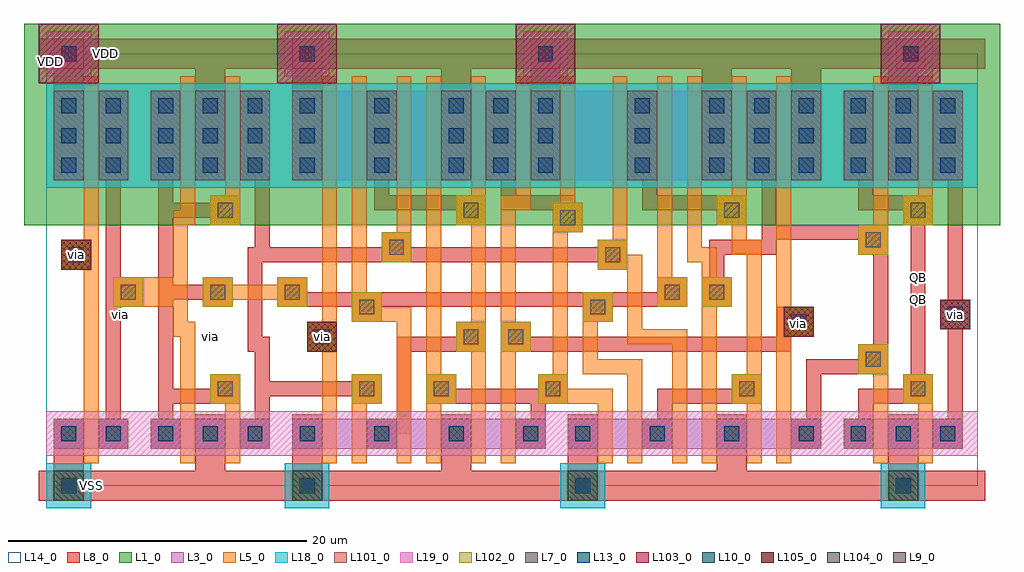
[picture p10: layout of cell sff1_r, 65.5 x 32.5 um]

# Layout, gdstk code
import gdstk
lib = gdstk.Library(unit=1e-6, precision=1e-09)
def R(c, l, rs):  # rectangles x0, y0, x1, y1
    for r in rs: c.add(gdstk.rectangle(r[:2], r[2:], *l))
L1_0 = (1, 0)
L3_0 = (3, 0)
L5_0 = (5, 0)
L7_0 = (7, 0)
L8_0 = (8, 0)
L9_0 = (9, 0)
L10_0 = (10, 0)
L13_0 = (13, 0)
L14_0 = (14, 0)
L18_0 = (18, 0)
L19_0 = (19, 0)
L101_0 = (101, 0)
L102_0 = (102, 0)
L103_0 = (103, 0)
L104_0 = (104, 0)
L105_0 = (105, 0)

dcont = lib.new_cell('dcont')
R(dcont, L3_0, [(-1,-1,1,1)])
R(dcont, L7_0, [(-0.5,-0.5,0.5,0.5)])
R(dcont, L8_0, [(-1,-1,1,1)])
R(dcont, L13_0, [(-0.5,-0.5,0.5,0.5)])
R(dcont, L101_0, [(-1,-1,1,1)])
dcont.add(gdstk.Label('dcont', (0,0), layer=13, texttype=0))

pcont = lib.new_cell('pcont')
R(pcont, L5_0, [(-1,-1,1,1)])
R(pcont, L7_0, [(-0.5,-0.5,0.5,0.5)])
R(pcont, L8_0, [(-1,-1,1,1)])
R(pcont, L102_0, [(-1,-1,1,1)])
pcont.add(gdstk.Label('pcont', (0,0), layer=13, texttype=0))

via = lib.new_cell('Via')
R(via, L8_0, [(-1,-1,1,1)])
R(via, L9_0, [(-0.5,-0.5,0.5,0.5)])
R(via, L10_0, [(-1,-1,1,1)])
R(via, L13_0, [(-0.5,-0.5,0.5,0.5)])
R(via, L105_0, [(-1,-1,1,1)])
via.add(gdstk.Label('via', (0,0), layer=13, texttype=0))

nsubcont = lib.new_cell('nsubcont')
R(nsubcont, L1_0, [(-2,-2,2,2)])
R(nsubcont, L19_0, [(-1.5,-1.5,1.5,1.5)])
R(nsubcont, L103_0, [(-2,-2,2,2)])
nsubcont.add(gdstk.Reference(dcont, (0,0)))
nsubcont.add(gdstk.Label('NScont', (0,0), layer=13, texttype=0))

psubcont = lib.new_cell('psubcont')
R(psubcont, L18_0, [(-1.5,-1.5,1.5,1.5)])
R(psubcont, L104_0, [(-1,-1,1,1)])
psubcont.add(gdstk.Reference(dcont, (0,0)))
psubcont.add(gdstk.Label('PScon', (0,0), layer=13, texttype=0))

sff1_r = lib.new_cell('sff1_r')
R(sff1_r, L1_0, [(-1.5,17.5,8,31), (5,17.5,64,31)])
R(sff1_r, L3_0, [(0.5,2.5,5.5,4.5), (7,2.5,15,4.5), (16.5,2.5,33.5,4.5), (35,2.5,52,4.5), (53.5,2.5,61.5,4.5), (0.5,20.5,5.5,26.5), (7,20.5,15,26.5), (16.5,20.5,52,26.5), (53.5,20.5,61.5,26.5)])
R(sff1_r, L5_0, [(6.5,12,8.5,14)])
R(sff1_r, L8_0, [(-0.5,-1,7,1), (6,-1,63,1), (17.5,9,19.5,11), (49.5,10,51.5,12), (60,10.5,62,12.5), (1,14.5,3,16.5), (13.4,20.9,14.6,26.1), (-0.5,28,7,30), (6,28,63,30)])
R(sff1_r, L10_0, [(17.5,9,19.5,11), (49.5,10,51.5,12), (60,10.5,62,12.5), (1,14.5,3,16.5)])
R(sff1_r, L14_0, [(0,0,62.5,29)])
R(sff1_r, L18_0, [(0,20,6.5,27), (6.5,20,62.5,27)])
R(sff1_r, L19_0, [(0,2,6.5,5), (6.5,2,62.5,5)])
R(sff1_r, L105_0, [(17.5,9,19.5,11), (49.5,10,51.5,12), (60,10.5,62,12.5), (1,14.5,3,16.5)])
sff1_r.add(gdstk.FlexPath([(31,19),(31,21.5)], 1, ends="extended", simple_path=True, layer=8, datatype=0))  # L8_0
sff1_r.add(gdstk.FlexPath([(38.3,15.5),(14.3,15.5)], 1, ends="extended", simple_path=True, layer=8, datatype=0))  # L8_0
sff1_r.add(gdstk.FlexPath([(50.5,10.8),(50.5,9.3),(31.8,9.3)], 0, ends="flush", simple_path=True, layer=8, datatype=0))  # L8_0
sff1_r.add(gdstk.FlexPath([(50.5,10.8),(50.5,9.3),(31.8,9.3)], 0, ends="flush", simple_path=True, layer=8, datatype=0))  # L8_0
sff1_r.add(gdstk.FlexPath([(8,26),(8,3.6)], 1, ends="extended", simple_path=True, layer=8, datatype=0))  # L8_0
sff1_r.add(gdstk.FlexPath([(8,22.3),(8,25.5)], 1.4, ends="extended", simple_path=True, layer=8, datatype=0))  # L8_0
sff1_r.add(gdstk.FlexPath([(11.9,13),(8,13)], 1, ends="extended", simple_path=True, layer=8, datatype=0))  # L8_0
sff1_r.add(gdstk.FlexPath([(12.3,6),(8,6)], 1, ends="extended", simple_path=True, layer=8, datatype=0))  # L8_0
sff1_r.add(gdstk.FlexPath([(12.1,18.5),(8,18.5)], 1, ends="extended", simple_path=True, layer=8, datatype=0))  # L8_0
sff1_r.add(gdstk.FlexPath([(11,22.6),(11,28.5)], 2, ends="extended", simple_path=True, layer=8, datatype=0))  # L8_0
sff1_r.add(gdstk.FlexPath([(11,1),(11,3.8)], 2, ends="extended", simple_path=True, layer=8, datatype=0))  # L8_0
sff1_r.add(gdstk.FlexPath([(14.5,3.6),(14.5,9.5),(14,9.5),(14,15.5),(14.5,15.5),(14.5,26)], 1, ends="extended", simple_path=True, layer=8, datatype=0))  # L8_0
sff1_r.add(gdstk.FlexPath([(17.5,1),(17.5,3.8)], 2, ends="extended", simple_path=True, layer=8, datatype=0))  # L8_0
sff1_r.add(gdstk.FlexPath([(17.5,22.6),(17.5,28.5)], 2, ends="extended", simple_path=True, layer=8, datatype=0))  # L8_0
sff1_r.add(gdstk.FlexPath([(21.3,6.5),(14.8,6.5)], 1, ends="extended", simple_path=True, layer=8, datatype=0))  # L8_0
sff1_r.add(gdstk.FlexPath([(22.5,22.3),(22.5,25.5)], 1.4, ends="extended", simple_path=True, layer=8, datatype=0))  # L8_0
sff1_r.add(gdstk.FlexPath([(22.5,22.3),(22.5,19),(28.5,19)], 1, ends="extended", simple_path=True, layer=8, datatype=0))  # L8_0
sff1_r.add(gdstk.FlexPath([(22.5,3.8),(22.5,4),(24,4),(24,9.5),(28.6,9.5)], 1, ends="extended", simple_path=True, layer=8, datatype=0))  # L8_0
sff1_r.add(gdstk.FlexPath([(27.5,22.6),(27.5,28.5)], 2, ends="extended", simple_path=True, layer=8, datatype=0))  # L8_0
sff1_r.add(gdstk.FlexPath([(27.5,1),(27.5,3.8)], 2, ends="extended", simple_path=True, layer=8, datatype=0))  # L8_0
sff1_r.add(gdstk.FlexPath([(41.9,12.5),(16.8,12.5)], 1, ends="extended", simple_path=True, layer=8, datatype=0))  # L8_0
sff1_r.add(gdstk.FlexPath([(33.8,6),(26.8,6)], 1, ends="extended", simple_path=True, layer=8, datatype=0))  # L8_0
sff1_r.add(gdstk.FlexPath([(30.5,21.5),(30.5,25.5)], 1.4, ends="extended", simple_path=True, layer=8, datatype=0))  # L8_0
sff1_r.add(gdstk.FlexPath([(31,19),(35,19),(35,18)], 1, ends="extended", simple_path=True, layer=8, datatype=0))  # L8_0
sff1_r.add(gdstk.FlexPath([(33,3.6),(33,5.5)], 1, ends="extended", simple_path=True, layer=8, datatype=0))  # L8_0
sff1_r.add(gdstk.FlexPath([(33.5,23.8),(33.5,28.5)], 2, ends="extended", simple_path=True, layer=8, datatype=0))  # L8_0
sff1_r.add(gdstk.FlexPath([(36,1),(36,3.8)], 2, ends="extended", simple_path=True, layer=8, datatype=0))  # L8_0
sff1_r.add(gdstk.FlexPath([(40,22.3),(40,25.5)], 1.4, ends="extended", simple_path=True, layer=8, datatype=0))  # L8_0
sff1_r.add(gdstk.FlexPath([(40.5,22.3),(40.5,19),(46,19)], 1, ends="extended", simple_path=True, layer=8, datatype=0))  # L8_0
sff1_r.add(gdstk.FlexPath([(45,22.6),(45,28.5)], 2, ends="extended", simple_path=True, layer=8, datatype=0))  # L8_0
sff1_r.add(gdstk.FlexPath([(41.5,3.8),(41.5,6),(46.8,6)], 1, ends="extended", simple_path=True, layer=8, datatype=0))  # L8_0
sff1_r.add(gdstk.FlexPath([(46,1),(46,3.8)], 2, ends="extended", simple_path=True, layer=8, datatype=0))  # L8_0
sff1_r.add(gdstk.FlexPath([(51,22.6),(51,28.5)], 2, ends="extended", simple_path=True, layer=8, datatype=0))  # L8_0
sff1_r.add(gdstk.FlexPath([(51.5,3.8),(51.5,8),(56,8),(56,17),(48.8,17)], 1, ends="extended", simple_path=True, layer=8, datatype=0))  # L8_0
sff1_r.add(gdstk.FlexPath([(54.5,22.3),(54.5,25.5)], 1.4, ends="extended", simple_path=True, layer=8, datatype=0))  # L8_0
sff1_r.add(gdstk.FlexPath([(55,26),(55,19),(58.5,19),(58.5,6),(55,6),(55,3.6)], 1, ends="extended", simple_path=True, layer=8, datatype=0))  # L8_0
sff1_r.add(gdstk.FlexPath([(57.5,1),(57.5,3.8)], 2, ends="extended", simple_path=True, layer=8, datatype=0))  # L8_0
sff1_r.add(gdstk.FlexPath([(57.5,22.6),(57.5,28.5)], 2, ends="extended", simple_path=True, layer=8, datatype=0))  # L8_0
sff1_r.add(gdstk.FlexPath([(60.5,22.3),(60.5,25.5)], 1.4, ends="extended", simple_path=True, layer=8, datatype=0))  # L8_0
sff1_r.add(gdstk.FlexPath([(61,3.3),(61,26)], 1, ends="extended", simple_path=True, layer=8, datatype=0))  # L8_0
sff1_r.add(gdstk.FlexPath([(50.5,10.8),(50.5,9.3),(31.8,9.3)], 0, ends="flush", simple_path=True, layer=8, datatype=0))  # L8_0
sff1_r.add(gdstk.FlexPath([(32,9.5),(49.5,9.5),(49.5,11.5),(50.3,11.5)], 1, ends="extended", simple_path=True, layer=8, datatype=0))  # L8_0
sff1_r.add(gdstk.FlexPath([(48.5,21.8),(48.5,16),(45,16),(45,12.8),(44.8,12.8)], 1, ends="extended", simple_path=True, layer=8, datatype=0))  # L8_0
sff1_r.add(gdstk.FlexPath([(1.5,21.5),(1.5,28.5)], 2, ends="extended", simple_path=True, layer=8, datatype=0))  # L8_0
sff1_r.add(gdstk.FlexPath([(1.5,1),(1.5,3.5)], 2, ends="extended", simple_path=True, layer=8, datatype=0))  # L8_0
sff1_r.add(gdstk.FlexPath([(4.5,22.3),(4.5,25.5)], 1.4, ends="extended", simple_path=True, layer=8, datatype=0))  # L8_0
sff1_r.add(gdstk.FlexPath([(4.5,20.5),(4.5,3.8)], 1, ends="extended", simple_path=True, layer=8, datatype=0))  # L8_0
sff1_r.add(gdstk.FlexPath([(35,27),(35,17.9)], 1, ends="extended", simple_path=True, layer=5, datatype=0))  # L5_0
sff1_r.add(gdstk.FlexPath([(34.3,6.1),(34.2,6.1)], 1, ends="extended", simple_path=True, layer=5, datatype=0))  # L5_0
sff1_r.add(gdstk.FlexPath([(9.5,27),(9.5,18),(9,18),(9,10.5),(9.5,10.5),(9.5,2)], 1, ends="extended", simple_path=True, layer=5, datatype=0))  # L5_0
sff1_r.add(gdstk.FlexPath([(12.5,2),(12.5,7)], 1, ends="extended", simple_path=True, layer=5, datatype=0))  # L5_0
sff1_r.add(gdstk.FlexPath([(12.5,18.3),(12.5,27)], 1, ends="extended", simple_path=True, layer=5, datatype=0))  # L5_0
sff1_r.add(gdstk.FlexPath([(16.5,13),(11.6,13)], 1, ends="extended", simple_path=True, layer=5, datatype=0))  # L5_0
sff1_r.add(gdstk.FlexPath([(19,27),(19,2)], 1, ends="extended", simple_path=True, layer=5, datatype=0))  # L5_0
sff1_r.add(gdstk.FlexPath([(21,2),(21,6.8)], 1, ends="extended", simple_path=True, layer=5, datatype=0))  # L5_0
sff1_r.add(gdstk.FlexPath([(24,2),(24,11.5),(21,11.5),(21,27)], 1, ends="extended", simple_path=True, layer=5, datatype=0))  # L5_0
sff1_r.add(gdstk.FlexPath([(24,15.8),(24,27)], 1, ends="extended", simple_path=True, layer=5, datatype=0))  # L5_0
sff1_r.add(gdstk.FlexPath([(26,27),(26,2)], 1, ends="extended", simple_path=True, layer=5, datatype=0))  # L5_0
sff1_r.add(gdstk.FlexPath([(29,18.7),(29,10)], 1, ends="extended", simple_path=True, layer=5, datatype=0))  # L5_0
sff1_r.add(gdstk.FlexPath([(29,2),(29,10)], 1, ends="extended", simple_path=True, layer=5, datatype=0))  # L5_0
sff1_r.add(gdstk.FlexPath([(29,18.4),(29,27)], 1, ends="extended", simple_path=True, layer=5, datatype=0))  # L5_0
sff1_r.add(gdstk.FlexPath([(31,2),(31,19),(32,19),(32,27)], 1, ends="extended", simple_path=True, layer=5, datatype=0))  # L5_0
sff1_r.add(gdstk.FlexPath([(34.5,18.2),(34.5,6.1)], 1, ends="extended", simple_path=True, layer=5, datatype=0))  # L5_0
sff1_r.add(gdstk.FlexPath([(37.5,2),(37.5,6),(33.8,6)], 1, ends="extended", simple_path=True, layer=5, datatype=0))  # L5_0
sff1_r.add(gdstk.FlexPath([(39.5,2),(39.5,8),(36.5,8),(36.5,12)], 1, ends="extended", simple_path=True, layer=5, datatype=0))  # L5_0
sff1_r.add(gdstk.FlexPath([(42.5,2),(42.5,10),(39.5,10),(39.5,15),(38.5,15),(38.5,27)], 1, ends="extended", simple_path=True, layer=5, datatype=0))  # L5_0
sff1_r.add(gdstk.FlexPath([(41.5,27),(41.5,13.7)], 1, ends="extended", simple_path=True, layer=5, datatype=0))  # L5_0
sff1_r.add(gdstk.FlexPath([(44.5,2),(44.5,15.5),(43.5,15.5),(43.5,27)], 1, ends="extended", simple_path=True, layer=5, datatype=0))  # L5_0
sff1_r.add(gdstk.FlexPath([(47.5,6.5),(47.5,16),(46.5,16),(46.5,27)], 1, ends="extended", simple_path=True, layer=5, datatype=0))  # L5_0
sff1_r.add(gdstk.FlexPath([(47.5,6.8),(47.5,2)], 1, ends="extended", simple_path=True, layer=5, datatype=0))  # L5_0
sff1_r.add(gdstk.FlexPath([(49.5,2),(49.5,27)], 1, ends="extended", simple_path=True, layer=5, datatype=0))  # L5_0
sff1_r.add(gdstk.FlexPath([(56,2),(56,8.9)], 1, ends="extended", simple_path=True, layer=5, datatype=0))  # L5_0
sff1_r.add(gdstk.FlexPath([(56,17),(56,27)], 1, ends="extended", simple_path=True, layer=5, datatype=0))  # L5_0
sff1_r.add(gdstk.FlexPath([(59,2),(59,6.7)], 1, ends="extended", simple_path=True, layer=5, datatype=0))  # L5_0
sff1_r.add(gdstk.FlexPath([(59,18.3),(59,27)], 1, ends="extended", simple_path=True, layer=5, datatype=0))  # L5_0
sff1_r.add(gdstk.FlexPath([(3,27),(3,2)], 1, ends="extended", simple_path=True, layer=5, datatype=0))  # L5_0
sff1_r.add(gdstk.Reference(dcont, (30.5,21.5)))
sff1_r.add(gdstk.Reference(dcont, (30.5,23.5)))
sff1_r.add(gdstk.Reference(pcont, (31.5,10)))
sff1_r.add(gdstk.Reference(pcont, (38,15.5)))
sff1_r.add(gdstk.Reference(dcont, (30.5,25.5)))
sff1_r.add(gdstk.Reference(via, (2,15.5)))
sff1_r.add(gdstk.Reference(pcont, (2,15.5)))
sff1_r.add(gdstk.Reference(dcont, (33.5,21.5)))
sff1_r.add(gdstk.Reference(pcont, (55.5,16.5)))
sff1_r.add(gdstk.Reference(pcont, (35,18)))
sff1_r.add(gdstk.Reference(dcont, (40,25.5)))
sff1_r.add(gdstk.Reference(dcont, (60.5,25.5)))
sff1_r.add(gdstk.Reference(dcont, (33.5,23.5)))
sff1_r.add(gdstk.Reference(dcont, (51,21.5)))
sff1_r.add(gdstk.Reference(dcont, (60.5,23.5)))
sff1_r.add(gdstk.Reference(dcont, (57.5,21.5)))
sff1_r.add(gdstk.Reference(dcont, (33.5,25.5)))
sff1_r.add(gdstk.Reference(dcont, (60.5,21.5)))
sff1_r.add(gdstk.Reference(dcont, (51,23.5)))
sff1_r.add(gdstk.Reference(nsubcont, (33.5,29)))
sff1_r.add(gdstk.Reference(dcont, (54.5,21.5)))
sff1_r.add(gdstk.Reference(nsubcont, (58,29)))
sff1_r.add(gdstk.Reference(dcont, (45,23.5)))
sff1_r.add(gdstk.Reference(dcont, (51,25.5)))
sff1_r.add(gdstk.Reference(dcont, (45,21.5)))
sff1_r.add(gdstk.Reference(dcont, (57.5,23.5)))
sff1_r.add(gdstk.Reference(dcont, (54.5,23.5)))
sff1_r.add(gdstk.Reference(dcont, (57.5,25.5)))
sff1_r.add(gdstk.Reference(dcont, (45,25.5)))
sff1_r.add(gdstk.Reference(pcont, (58.5,18.5)))
sff1_r.add(gdstk.Reference(dcont, (48,21.5)))
sff1_r.add(gdstk.Reference(dcont, (54.5,25.5)))
sff1_r.add(gdstk.Reference(dcont, (48,25.5)))
sff1_r.add(gdstk.Reference(dcont, (48,23.5)))
sff1_r.add(gdstk.Reference(pcont, (46,18.5)))
sff1_r.add(gdstk.Reference(dcont, (40,23.5)))
sff1_r.add(gdstk.Reference(dcont, (40,21.5)))
sff1_r.add(gdstk.Reference(pcont, (28.5,18.5)))
sff1_r.add(gdstk.Reference(dcont, (4.5,25.5)))
sff1_r.add(gdstk.Reference(dcont, (11,21.5)))
sff1_r.add(gdstk.Reference(dcont, (17.5,21.5)))
sff1_r.add(gdstk.Reference(dcont, (27.5,23.5)))
sff1_r.add(gdstk.Reference(dcont, (22.5,25.5)))
sff1_r.add(gdstk.Reference(dcont, (11,25.5)))
sff1_r.add(gdstk.Reference(dcont, (8,21.5)))
sff1_r.add(gdstk.Reference(dcont, (8,25.5)))
sff1_r.add(gdstk.Reference(dcont, (4.5,21.5)))
sff1_r.add(gdstk.Reference(nsubcont, (17.5,29)))
sff1_r.add(gdstk.Reference(dcont, (11,23.5)))
sff1_r.add(gdstk.Reference(dcont, (14,23.5)))
sff1_r.add(gdstk.Reference(dcont, (22.5,23.5)))
sff1_r.add(gdstk.Reference(dcont, (27.5,21.5)))
sff1_r.add(gdstk.Reference(dcont, (22.5,21.5)))
sff1_r.add(gdstk.Reference(nsubcont, (1.5,29)))
sff1_r.add(gdstk.Reference(pcont, (23.5,16)))
sff1_r.add(gdstk.Reference(dcont, (17.5,23.5)))
sff1_r.add(gdstk.Reference(dcont, (8,23.5)))
sff1_r.add(gdstk.Reference(pcont, (12,18.5)))
sff1_r.add(gdstk.Reference(dcont, (27.5,25.5)))
sff1_r.add(gdstk.Reference(dcont, (14,21.5)))
sff1_r.add(gdstk.Reference(dcont, (17.5,25.5)))
sff1_r.add(gdstk.Reference(dcont, (4.5,23.5)))
sff1_r.add(gdstk.Reference(dcont, (1.5,25.5)))
sff1_r.add(gdstk.Reference(dcont, (14,25.5)))
sff1_r.add(gdstk.Reference(dcont, (1.5,21.5)))
sff1_r.add(gdstk.Reference(dcont, (1.5,23.5)))
sff1_r.add(gdstk.Reference(dcont, (8,3.5)))
sff1_r.add(gdstk.Reference(pcont, (21.5,12)))
sff1_r.add(gdstk.Reference(dcont, (14,3.5)))
sff1_r.add(gdstk.Reference(dcont, (17.5,3.5)))
sff1_r.add(gdstk.Reference(dcont, (22.5,3.5)))
sff1_r.add(gdstk.Reference(via, (18.5,10)))
sff1_r.add(gdstk.Reference(pcont, (18.5,10)))
sff1_r.add(gdstk.Reference(pcont, (21.5,6.5)))
sff1_r.add(gdstk.Reference(pcont, (28.5,10)))
sff1_r.add(gdstk.Reference(pcont, (16.5,13)))
sff1_r.add(gdstk.Reference(dcont, (27.5,3.5)))
sff1_r.add(gdstk.Reference(psubcont, (17.5,0)))
sff1_r.add(gdstk.Reference(pcont, (26.5,6.5)))
sff1_r.add(gdstk.Reference(pcont, (12,6.5)))
sff1_r.add(gdstk.Reference(pcont, (5.5,13)))
sff1_r.add(gdstk.Reference(psubcont, (1.5,0)))
sff1_r.add(gdstk.Reference(dcont, (1.5,3.5)))
sff1_r.add(gdstk.Reference(dcont, (4.5,3.5)))
sff1_r.add(gdstk.Reference(dcont, (11,3.5)))
sff1_r.add(gdstk.Reference(pcont, (11.5,13)))
sff1_r.add(gdstk.Reference(pcont, (45,13)))
sff1_r.add(gdstk.Reference(pcont, (37,12)))
sff1_r.add(gdstk.Reference(pcont, (47,6.5)))
sff1_r.add(gdstk.Reference(dcont, (36,3.5)))
sff1_r.add(gdstk.Reference(pcont, (58.5,6.5)))
sff1_r.add(gdstk.Reference(dcont, (60.5,3.5)))
sff1_r.add(gdstk.Reference(dcont, (54.5,3.5)))
sff1_r.add(gdstk.Reference(pcont, (42,13)))
sff1_r.add(gdstk.Reference(pcont, (34,6.5)))
sff1_r.add(gdstk.Reference(dcont, (32.5,3.5)))
sff1_r.add(gdstk.Reference(psubcont, (57.5,0)))
sff1_r.add(gdstk.Reference(pcont, (55.5,8.5)))
sff1_r.add(gdstk.Reference(dcont, (57.5,3.5)))
sff1_r.add(gdstk.Reference(pcont, (50.5,11)))
sff1_r.add(gdstk.Reference(dcont, (51,3.5)))
sff1_r.add(gdstk.Reference(psubcont, (36,0)))
sff1_r.add(gdstk.Reference(via, (50.5,11)))
sff1_r.add(gdstk.Reference(dcont, (46,3.5)))
sff1_r.add(gdstk.Reference(via, (61,11.5)))
sff1_r.add(gdstk.Reference(dcont, (41,3.5)))
sff1_r.add(gdstk.Label('QB', (58.5,12.5), layer=8, texttype=0))
sff1_r.add(gdstk.Label('VDD', (0.3,28.5), layer=8, texttype=0))
sff1_r.add(gdstk.Label('VSS', (3,0), layer=8, texttype=0))
sff1_r.add(gdstk.Label('QB', (58.5,14), layer=8, texttype=0))
sff1_r.add(gdstk.Label('VDD', (4,29), layer=8, texttype=0))
sff1_r.add(gdstk.Label('via', (61,11.5), layer=13, texttype=0))
sff1_r.add(gdstk.Label('via', (50.5,10.9), layer=13, texttype=0))
sff1_r.add(gdstk.Label('via', (18.5,10), layer=13, texttype=0))
sff1_r.add(gdstk.Label('via', (11,10), layer=13, texttype=0))
sff1_r.add(gdstk.Label('via', (2,15.5), layer=13, texttype=0))
sff1_r.add(gdstk.Label('via', (5,11.5), layer=13, texttype=0))
sff1_r.add(gdstk.Label('CK', (2,15.5), layer=10, texttype=0))
sff1_r.add(gdstk.Label('D', (18.5,10), layer=10, texttype=0))
sff1_r.add(gdstk.Label('S', (50.5,11), layer=10, texttype=0))
sff1_r.add(gdstk.Label('Q', (61,11.5), layer=10, texttype=0))

lib.write_gds('sff1_r.gds')
